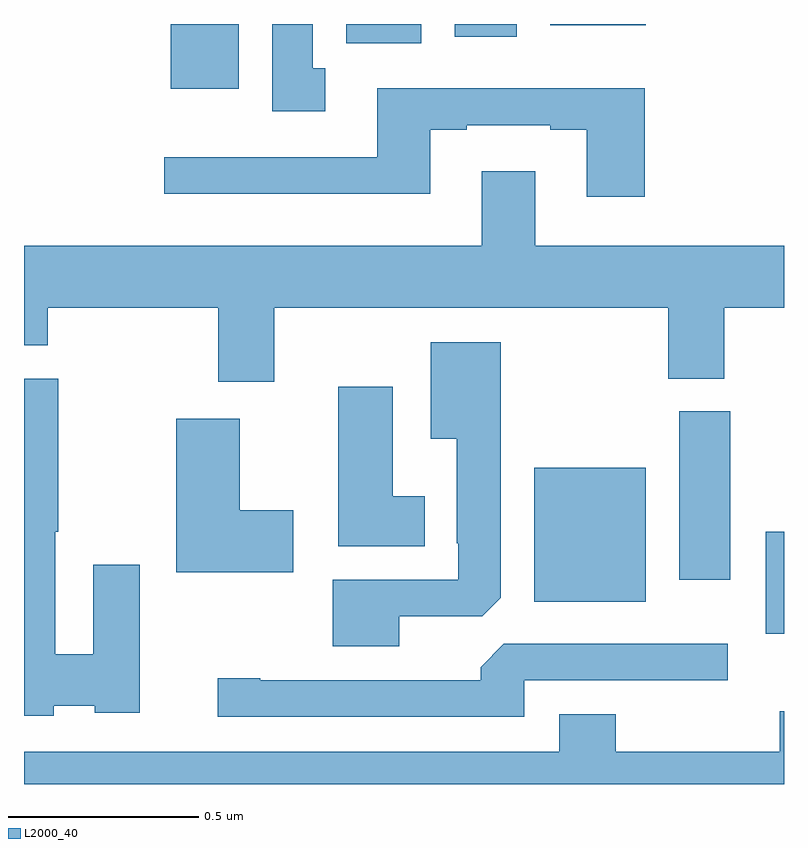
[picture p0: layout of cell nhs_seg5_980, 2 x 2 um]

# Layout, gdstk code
import gdstk
lib = gdstk.Library(unit=1e-6, precision=1e-09)
def R(c, l, rs):  # rectangles x0, y0, x1, y1
    for r in rs: c.add(gdstk.rectangle(r[:2], r[2:], *l))
def P(c, l, *ps):  # polygons
    for p in ps: c.add(gdstk.Polygon(p, *l))
L2000_40 = (2000, 40)

nhs_seg5_980 = lib.new_cell('nhs_seg5_980')
R(nhs_seg5_980, L2000_40, [(124.952,897.194,125,897.463), (124.343,897.278,124.636,897.631), (124.724,897.336,124.858,897.78), (123.386,898.628,123.565,898.799), (123.848,898.748,124.045,898.799), (124.133,898.766,124.297,898.799), (124.385,898.796,124.636,898.799)])
P(nhs_seg5_980, L2000_40, [(123.793,898.682),(123.76,898.682),(123.76,898.799),(123.653,898.799),(123.653,898.569),(123.793,898.569)],
  [(124.634,898.63),(123.929,898.63),(123.929,898.449),(123.369,898.449),(123.369,898.352),(124.069,898.352),(124.069,898.521),(124.165,898.521),(124.165,898.533),(124.385,898.533),(124.385,898.521),(124.481,898.521),(124.481,898.344),(124.634,898.344)],
  [(123.658,898.052),(124.696,898.052),(124.696,897.865),(124.843,897.865),(124.843,898.052),(125,898.052),(125,898.216),(124.345,898.216),(124.345,898.411),(124.205,898.411),(124.205,898.216),(123,898.216),(123,897.953),(123.063,897.953),(123.063,898.052),(123.511,898.052),(123.511,897.858),(123.658,897.858)],
  [(123.988,897.24),(124.206,897.24),(124.255,897.289),(124.255,897.961),(124.07,897.961),(124.07,897.707),(124.139,897.707),(124.139,897.433),(124.143,897.433),(124.143,897.336),(123.812,897.336),(123.812,897.161),(123.988,897.161)],
  [(123.078,897.005),(123.186,897.005),(123.186,896.987),(123.304,896.987),(123.304,897.376),(123.182,897.376),(123.182,897.14),(123.082,897.14),(123.082,897.463),(123.09,897.463),(123.09,897.866),(123,897.866),(123,896.978),(123.078,896.978)],
  [(124.054,897.556),(123.97,897.556),(123.97,897.844),(123.827,897.844),(123.827,897.425),(124.054,897.425)],
  [(123.709,897.519),(123.568,897.519),(123.568,897.76),(123.401,897.76),(123.401,897.356),(123.709,897.356)],
  [(124.317,897.072),(124.852,897.072),(124.852,897.168),(124.263,897.168),(124.202,897.106),(124.202,897.072),(123.622,897.072),(123.622,897.077),(123.51,897.077),(123.51,896.976),(124.317,896.976)],
  [(125,896.991),(124.989,896.991),(124.989,896.884),(124.557,896.884),(124.557,896.983),(124.409,896.983),(124.409,896.884),(123,896.884),(123,896.799),(125,896.799)])

lib.write_gds('nhs_seg5_980.gds')
